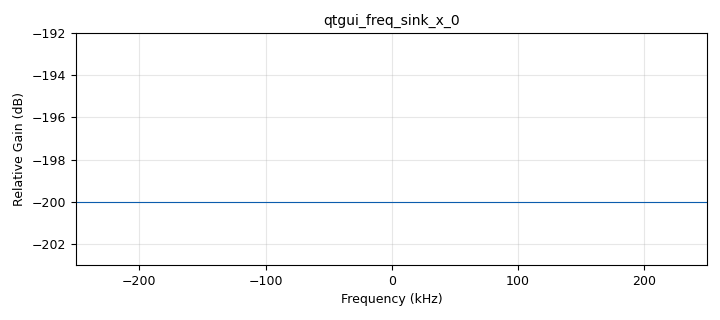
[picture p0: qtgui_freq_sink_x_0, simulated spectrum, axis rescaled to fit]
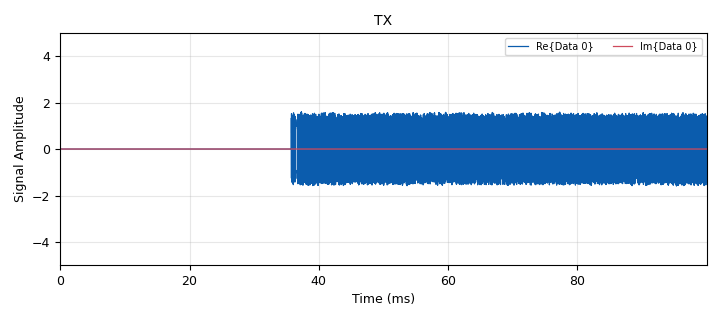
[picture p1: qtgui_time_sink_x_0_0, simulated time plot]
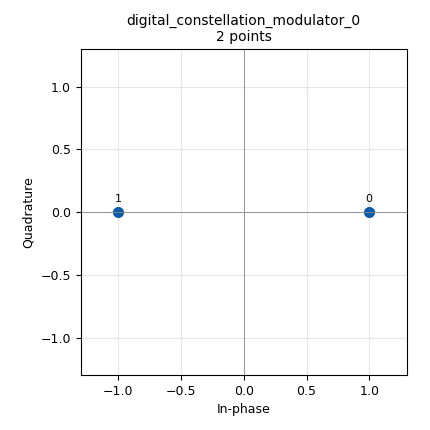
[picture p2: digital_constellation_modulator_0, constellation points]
options:
  parameters:
    category: Custom
    generate_options: qt_gui
    id: test_corr_est
    output_language: python
  states: {}

blocks:
- name: bb_filter
  id: variable
  parameters:
    value: firdes.root_raised_cosine(sps, sps, 1, eb, 101)
  states: {}
- name: constel
  id: variable_constellation
  parameters:
    const_points: '[1,-1]'
    dims: '1'
    normalization: digital.constellation.AMPLITUDE_NORMALIZATION
    precision: '8'
    rot_sym: '2'
    sym_map: '[0,1]'
    type: calcdist
  states: {}
- name: data
  id: variable
  parameters:
    value: '[0]*4+[random.getrandbits(8) for i in range(payload_size)]'
  states: {}
- name: delay
  id: variable_qtgui_range
  parameters:
    gui_hint: 5,0,1,2
    label: delay
    start: '0'
    step: '1'
    stop: '200'
    value: '90'
  states: {state: disabled}
- name: delay_0
  id: variable_qtgui_range
  parameters:
    gui_hint: 5,1,1,1
    label: Timing Delay
    rangeType: int
    start: '0'
    step: '1'
    stop: int(0.1*samp_rate)
    value: int(0.001*samp_rate)
  states: {}
- name: eb
  id: variable
  parameters:
    value: '0.35'
  states: {}
- name: freq_offset
  id: variable_qtgui_range
  parameters:
    gui_hint: 4,0,1,1
    label: Frequency Offset
    start: '-0.001'
    step: '0.00002'
    stop: '0.001'
    value: '0'
    widget: slider
  states: {}
- name: gap
  id: variable_qtgui_range
  parameters:
    gui_hint: 3,0,1,1
    label: Gap
    start: '2000'
    step: '2000'
    stop: '200000'
    value: '20000'
  states: {}
- name: matched_filter
  id: variable
  parameters:
    value: firdes.root_raised_cosine(nfilts, nfilts, 1, eb, int(11*sps*nfilts))
  states: {}
- name: modulated_sync_word
  id: variable_modulate_vector
  parameters:
    data: preamble
    mod: rxmod
    taps: '[1]'
  states: {}
- name: nfilts
  id: variable
  parameters:
    value: '32'
  states: {}
- name: osci_diff
  id: variable_qtgui_range
  parameters:
    gui_hint: 4,1,1,1
    label: Timing Offset
    start: '0.995'
    step: '0.00001'
    stop: '1.005'
    value: '1'
    widget: slider
  states: {}
- name: payload_size
  id: variable
  parameters:
    value: '992'
  states: {}
- name: phase
  id: variable_qtgui_range
  parameters:
    gui_hint: 3,1,1,1
    label: Phase offset
    start: '-2*numpy.pi'
    step: '0.1'
    stop: 2*numpy.pi
    value: '0'
    widget: eng
  states: {}
- name: preamble
  id: variable
  parameters:
    value: '[0xac, 0xdd, 0xa4, 0xe2, 0xf2, 0x8c, 0x20, 0xfc]'
  states: {}
- name: rrc_taps
  id: variable
  parameters:
    value: firdes.root_raised_cosine(nfilts, nfilts, 1.0/float(sps), eb, 5*sps*nfilts)
  states: {}
- name: rxmod
  id: variable
  parameters:
    value: digital.generic_mod(constel, False, sps, True, eb, False, False)
  states: {}
- name: samp_rate
  id: variable
  parameters:
    value: '500000'
  states: {}
- name: sps
  id: variable
  parameters:
    value: '4'
  states: {}
- name: trigger_0
  id: variable_qtgui_range
  parameters:
    gui_hint: 5,0,1,1
    label: trigger
    start: '0'
    step: '1'
    stop: '400'
    value: '100'
    widget: dial
  states: {}
- name: analog_sig_source_x_0
  id: analog_sig_source_x
  parameters:
    amp: '1'
    freq: '1000000'
    offset: '0'
    phase: '0'
    samp_rate: samp_rate
    type: complex
    waveform: analog.GR_COS_WAVE
  states: {}
- name: analog_sig_source_x_0_0
  id: analog_sig_source_x
  parameters:
    amp: '1'
    freq: '1000000'
    offset: '0'
    phase: '0'
    samp_rate: samp_rate
    type: complex
    waveform: analog.GR_COS_WAVE
  states: {}
- name: band_pass_filter_0
  id: band_pass_filter
  parameters:
    decim: '1'
    gain: '1'
    high_cutoff_freq: '200000'
    low_cutoff_freq: '0.01'
    samp_rate: samp_rate
    type: fir_filter_ccf
    width: '1'
    win: window.WIN_HAMMING
  states: {}
- name: blocks_char_to_float_0
  id: blocks_char_to_float
  parameters:
    scale: '1'
  states: {state: disabled}
- name: blocks_char_to_float_0_0
  id: blocks_char_to_float
  parameters:
    scale: '1'
  states: {state: disabled}
- name: blocks_complex_to_float_0
  id: blocks_complex_to_float
  parameters: {}
  states: {state: disabled}
- name: blocks_complex_to_mag_0
  id: blocks_complex_to_mag
  parameters: {}
  states: {}
- name: blocks_delay_0
  id: blocks_delay
  parameters:
    delay: int(delay)
    type: float
  states: {state: disabled}
- name: blocks_delay_1
  id: blocks_delay
  parameters:
    delay: delay_0
    type: complex
  states: {}
- name: blocks_multiply_xx_0
  id: blocks_multiply_xx
  parameters:
    type: complex
  states: {}
- name: blocks_multiply_xx_0_0
  id: blocks_multiply_xx
  parameters:
    type: complex
  states: {}
- name: blocks_null_source_0
  id: blocks_null_source
  parameters:
    type: byte
  states: {state: disabled}
- name: blocks_null_source_0_0
  id: blocks_null_source
  parameters:
    type: complex
  states: {}
- name: blocks_stream_mux_0
  id: blocks_stream_mux
  parameters:
    lengths: (len(preamble)/8+payload_size), gap/sps/8
    type: byte
  states: {state: disabled}
- name: blocks_stream_mux_0_0
  id: blocks_stream_mux
  parameters:
    lengths: ((len(preamble)+len(data))*8*sps, gap)
    type: complex
  states: {}
- name: blocks_sub_xx_0
  id: blocks_sub_xx
  parameters:
    type: float
  states: {state: disabled}
- name: blocks_unpack_k_bits_bb_0
  id: blocks_unpack_k_bits_bb
  parameters:
    k: '8'
  states: {state: disabled}
- name: blocks_vector_source_x_0_0
  id: blocks_vector_source_x
  parameters:
    repeat: 'True'
    type: byte
    vector: preamble+data
  states: {}
- name: digital_constellation_decoder_cb_0
  id: digital_constellation_decoder_cb
  parameters:
    constellation: constel
  states: {state: disabled}
- name: digital_constellation_modulator_0
  id: digital_constellation_modulator
  parameters:
    constellation: constel
    differential: 'False'
    excess_bw: eb
    samples_per_symbol: sps
  states: {}
- name: digital_corr_est_cc_0
  id: digital_corr_est_cc
  parameters:
    mark_delay: '1'
    sps: sps
    symbols: modulated_sync_word
    threshold: '0.9'
    threshold_method: digital.THRESHOLD_ABSOLUTE
  states: {}
- name: digital_costas_loop_cc_0
  id: digital_costas_loop_cc
  parameters:
    order: '2'
    w: 1*3.14/50.0
  states: {state: disabled}
- name: digital_pfb_clock_sync_xxx_0
  id: digital_pfb_clock_sync_xxx
  parameters:
    filter_size: nfilts
    init_phase: '0'
    loop_bw: 2*3.14/100.0
    max_dev: '0.5'
    osps: '1'
    sps: sps
    taps: rrc_taps
    type: ccf
  states: {state: disabled}
- name: iio_pluto_sink_0
  id: iio_pluto_sink
  parameters:
    attenuation1: '10.0'
    bandwidth: '20000000'
    buffer_size: '4096'
    cyclic: 'False'
    filter_source: '''Auto'''
    frequency: '2400000000'
    samplerate: samp_rate
    type: fc32
    uri: ip:192.168.4.1
  states: {}
- name: iio_pluto_source_0
  id: iio_pluto_source
  parameters:
    bandwidth: '20000000'
    bbdc: 'True'
    buffer_size: '4096'
    filter_source: '''Auto'''
    frequency: '2400000000'
    gain1: '''slow_attack'''
    quadrature: 'True'
    rfdc: 'True'
    samplerate: samp_rate
    type: fc32
    uri: ip:192.168.2.1
  states: {}
- name: import_0
  id: import
  parameters:
    imports: import numpy
  states: {}
- name: import_0_0
  id: import
  parameters:
    imports: import random
  states: {}
- name: qtgui_const_sink_x_0
  id: qtgui_const_sink_x
  parameters:
    gui_hint: 0,1,1,1
    name: ''
    size: (len(preamble)+payload_size)*8
    tr_level: '0'
    tr_mode: qtgui.TRIG_MODE_TAG
    tr_tag: time_est
    type: complex
  states: {state: disabled}
- name: qtgui_freq_sink_x_0
  id: qtgui_freq_sink_x
  parameters:
    bw: samp_rate
    fc: '0'
    fftsize: '1024'
    gui_hint: 1,0,1,1
    type: complex
  states: {}
- name: qtgui_time_sink_x_0
  id: qtgui_time_sink_x
  parameters:
    affinity: '0'
    gui_hint: 1,2,1,1
    label1: ''
    label2: ''
    name: RX_sig
    size: '50000'
    srate: samp_rate
    tr_delay: '0.1'
    tr_level: '1'
    tr_mode: qtgui.TRIG_MODE_AUTO
    tr_tag: time_est
    type: complex
    ylabel: Signal Amplitude
    ymax: '20'
    ymin: '-20'
  states: {}
- name: qtgui_time_sink_x_0_0
  id: qtgui_time_sink_x
  parameters:
    affinity: '0'
    gui_hint: 0,0,1,1
    label1: ''
    label2: ''
    name: TX
    size: '50000'
    srate: samp_rate
    tr_delay: '0.1'
    tr_level: '1'
    tr_mode: qtgui.TRIG_MODE_AUTO
    tr_tag: time_est
    type: complex
    ylabel: Signal Amplitude
    ymax: '5'
    ymin: '-5'
  states: {}
- name: qtgui_time_sink_x_0_1
  id: qtgui_time_sink_x
  parameters:
    gui_hint: 2,0,1,2
    label1: ''
    label2: ''
    label3: ''
    name: ''
    nconnections: '3'
    size: '20000'
    srate: samp_rate
    tr_delay: '0.010'
    tr_mode: qtgui.TRIG_MODE_TAG
    tr_tag: time_est
    type: float
    ymax: '2'
    ymin: '-2'
  states: {state: disabled}
- name: qtgui_time_sink_x_0_2
  id: qtgui_time_sink_x
  parameters:
    affinity: '0'
    gui_hint: 0,1,1,1
    label1: ''
    label2: ''
    name: RX
    size: '50000'
    srate: samp_rate
    tr_delay: '0.1'
    tr_level: '1'
    tr_mode: qtgui.TRIG_MODE_AUTO
    tr_tag: time_est
    type: complex
    ylabel: Signal Amplitude
    ymax: '5'
    ymin: '-5'
  states: {}
- name: qtgui_time_sink_x_0_2_0
  id: qtgui_time_sink_x
  parameters:
    affinity: '0'
    gui_hint: 0,2,1,1
    label1: ''
    label2: ''
    name: RX
    size: '50000'
    srate: samp_rate
    tr_delay: '0.1'
    tr_level: '1'
    tr_mode: qtgui.TRIG_MODE_AUTO
    tr_tag: time_est
    type: complex
    ylabel: Signal Amplitude
    ymax: '5'
    ymin: '-5'
  states: {}
- name: qtgui_time_sink_x_1
  id: qtgui_time_sink_x
  parameters:
    entags: 'False'
    gui_hint: 1,1,1,1
    label1: '|corr|^2'
    name: ''
    size: '80000'
    srate: samp_rate
    tr_level: trigger_0
    tr_mode: qtgui.TRIG_MODE_NORM
    type: float
    ylabel: Correlation Amplitude
    ymax: '400'
    ymin: '-200'
  states: {}

connections:
- [analog_sig_source_x_0, '0', blocks_multiply_xx_0, '1']
- [analog_sig_source_x_0_0, '0', blocks_multiply_xx_0_0, '1']
- [band_pass_filter_0, '0', digital_corr_est_cc_0, '0']
- [band_pass_filter_0, '0', qtgui_time_sink_x_0_2_0, '0']
- [blocks_char_to_float_0, '0', blocks_delay_0, '0']
- [blocks_char_to_float_0_0, '0', blocks_sub_xx_0, '0']
- [blocks_char_to_float_0_0, '0', qtgui_time_sink_x_0_1, '0']
- [blocks_complex_to_mag_0, '0', qtgui_time_sink_x_1, '0']
- [blocks_delay_0, '0', blocks_sub_xx_0, '1']
- [blocks_delay_0, '0', qtgui_time_sink_x_0_1, '1']
- [blocks_delay_1, '0', blocks_multiply_xx_0, '0']
- [blocks_delay_1, '0', qtgui_freq_sink_x_0, '0']
- [blocks_multiply_xx_0, '0', iio_pluto_sink_0, '0']
- [blocks_multiply_xx_0, '0', qtgui_time_sink_x_0_0, '0']
- [blocks_multiply_xx_0_0, '0', band_pass_filter_0, '0']
- [blocks_null_source_0, '0', blocks_stream_mux_0, '1']
- [blocks_null_source_0_0, '0', blocks_stream_mux_0_0, '1']
- [blocks_stream_mux_0, '0', blocks_unpack_k_bits_bb_0, '0']
- [blocks_stream_mux_0_0, '0', blocks_delay_1, '0']
- [blocks_sub_xx_0, '0', qtgui_time_sink_x_0_1, '2']
- [blocks_unpack_k_bits_bb_0, '0', blocks_char_to_float_0, '0']
- [blocks_vector_source_x_0_0, '0', digital_constellation_modulator_0, '0']
- [digital_constellation_decoder_cb_0, '0', blocks_char_to_float_0_0, '0']
- [digital_constellation_modulator_0, '0', blocks_stream_mux_0_0, '0']
- [digital_corr_est_cc_0, '0', qtgui_time_sink_x_0, '0']
- [digital_corr_est_cc_0, '1', blocks_complex_to_float_0, '0']
- [digital_corr_est_cc_0, '1', blocks_complex_to_mag_0, '0']
- [digital_costas_loop_cc_0, '0', digital_constellation_decoder_cb_0, '0']
- [digital_costas_loop_cc_0, '0', qtgui_const_sink_x_0, '0']
- [digital_pfb_clock_sync_xxx_0, '0', digital_costas_loop_cc_0, '0']
- [iio_pluto_source_0, '0', blocks_multiply_xx_0_0, '0']
- [iio_pluto_source_0, '0', qtgui_time_sink_x_0_2, '0']

metadata:
  file_format: 1
  grc_version: 3.10.9.2
